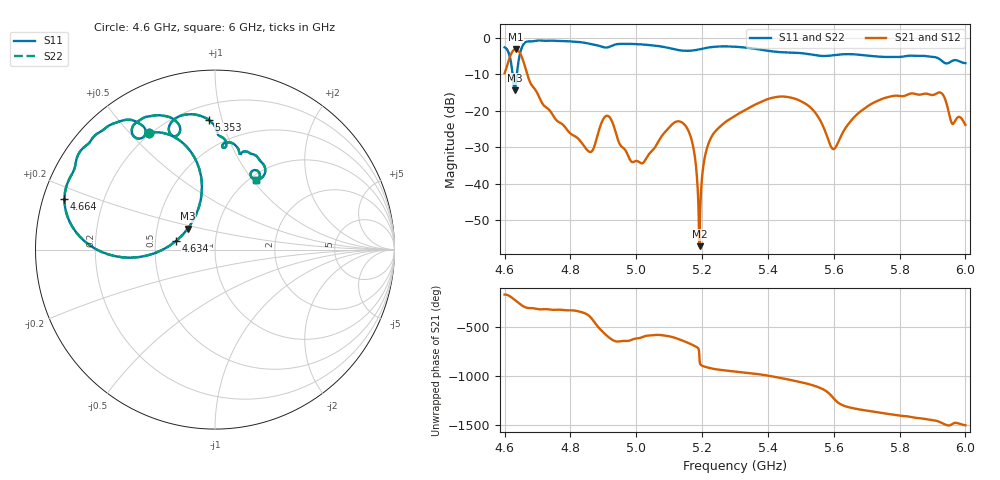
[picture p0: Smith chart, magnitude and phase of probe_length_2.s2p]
! TOUCHSTONE file generated by CST MICROWAVE STUDIO
! Date and time: Sat Nov 30 13:11:59 2024
! Project name: test_tuning.cst
! Parameters = {airCoaxOuterDiameter=3; chamferAngle=45; chamferWidth=24; connectorLength=10; drillingHoleDiameter=4.1; feedLength=60; flareDiameter=130; flareLength=70; gratingDistance=0; gratingGap=1.90274; outletLength=30; polarizerLength=134; probe1Diameter=1.3; probe1Distance=14; probe1Length=8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
! Header version: 2024
! Port assignment regex: !\s*Touchstone port\s*([0-9]+)\s*=\s*(CST MWS port|CST DES external port|CST DES block port)\s*(.+)\s* \(\"(.*)\"\)(\s*mode\s*([0-9]+))?.*
! Touchstone port assignment:
! Touchstone port 1 = CST MWS port 1 ("Input1")
! Touchstone port 2 = CST MWS port 2 ("Input2")
# GHz S MA R 50
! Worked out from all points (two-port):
!   1001 points, 4.6 GHz to 6 GHz, reference 50 ohm
!   highest |S21| = -3.01 dB at 4.634 GHz (marker M1); lowest = -57.2 dB at 5.192 GHz (marker M2)
!   |S21| within 3 dB of the highest: 4.613 GHz to 4.656 GHz (42.8 MHz wide, 0.924 % of centre)
!   lowest |S11| = -14.4 dB at 4.631 GHz (marker M3), VSWR 1.47, Z = 36 + j8.75 ohm
!   |S11| at or under -10 dB: 4.624374 GHz to 4.637181 GHz (12.81 MHz wide, 0.277 % of centre)
!   |S22| runs from -14.4 to -0.6 dB; largest |S21 - S12| = 1.3e-06
!   S11 on the Smith chart (normalised r, x): 4.6 GHz: 0.19, +0.57; 4.634 GHz: 0.64, +0.07; 4.664 GHz: 0.06, +0.16; 5.353 GHz: 0.30, +0.91; 6 GHz: 1.07, +1.05
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4.6  0.7458 119.4  0.3287 -169.1  0.3287 -169.1  0.7458 119.4
4.6308  0.1911 142.2  0.7024 136.2  0.7024 136.2  0.1911 142.2
4.6336  0.2208 167.0  0.7071 128.4  0.7071 128.4  0.2208 167.0
4.6644  0.8845 161.5  0.3729 59.2  0.3729 59.2  0.8845 161.5
4.8338  0.8764 124.4  0.03651 11.7  0.03651 11.7  0.8764 124.4
4.8646  0.8264 121.2  0.02765 -53.8  0.02765 -53.8  0.8264 121.2
4.9108  0.7441 123.6  0.0856 131.4  0.0856 131.4  0.7441 123.6
4.9878  0.8323 117.1  0.01973 92.4  0.01973 92.4  0.8323 117.1
5.0676  0.778 108.7  0.03815 140.2  0.03815 140.2  0.778 108.7
5.1516  0.6695 108.7  0.06052 66.9  0.06052 66.9  0.6695 108.7
5.174  0.6786 110.6  0.03027 32.7  0.03027 32.7  0.6786 110.6
5.1922  0.7013 111.2  0.001375 -112.5  0.001375 -112.5  0.7013 111.2
5.2062  0.7244 110.8  0.02051 178.0  0.02051 178.0  0.7244 110.8
5.2216  0.7467 109.3  0.03754 163.9  0.03754 163.9  0.7467 109.3
5.3  0.7623 98.8  0.08505 127.3  0.08505 127.3  0.7623 98.8
5.3532  0.7218 92.6  0.1167 107.9  0.1167 107.9  0.7218 92.6
5.5338  0.5938 83.9  0.1064 -11.0  0.1064 -11.0  0.5938 83.9
5.5996  0.5831 86.0  0.02976 -146.4  0.02976 -146.4  0.5831 86.0
5.7676  0.5511 75.6  0.1557 53.8  0.1557 53.8  0.5511 75.6
5.9244  0.5038 56.8  0.1782 -30.5  0.1782 -30.5  0.5038 56.8
5.9594  0.4851 64.6  0.06685 -49.6  0.06685 -49.6  0.4851 64.6
6  0.4532 59.4  0.06415 -60.9  0.06415 -60.9  0.4532 59.4
